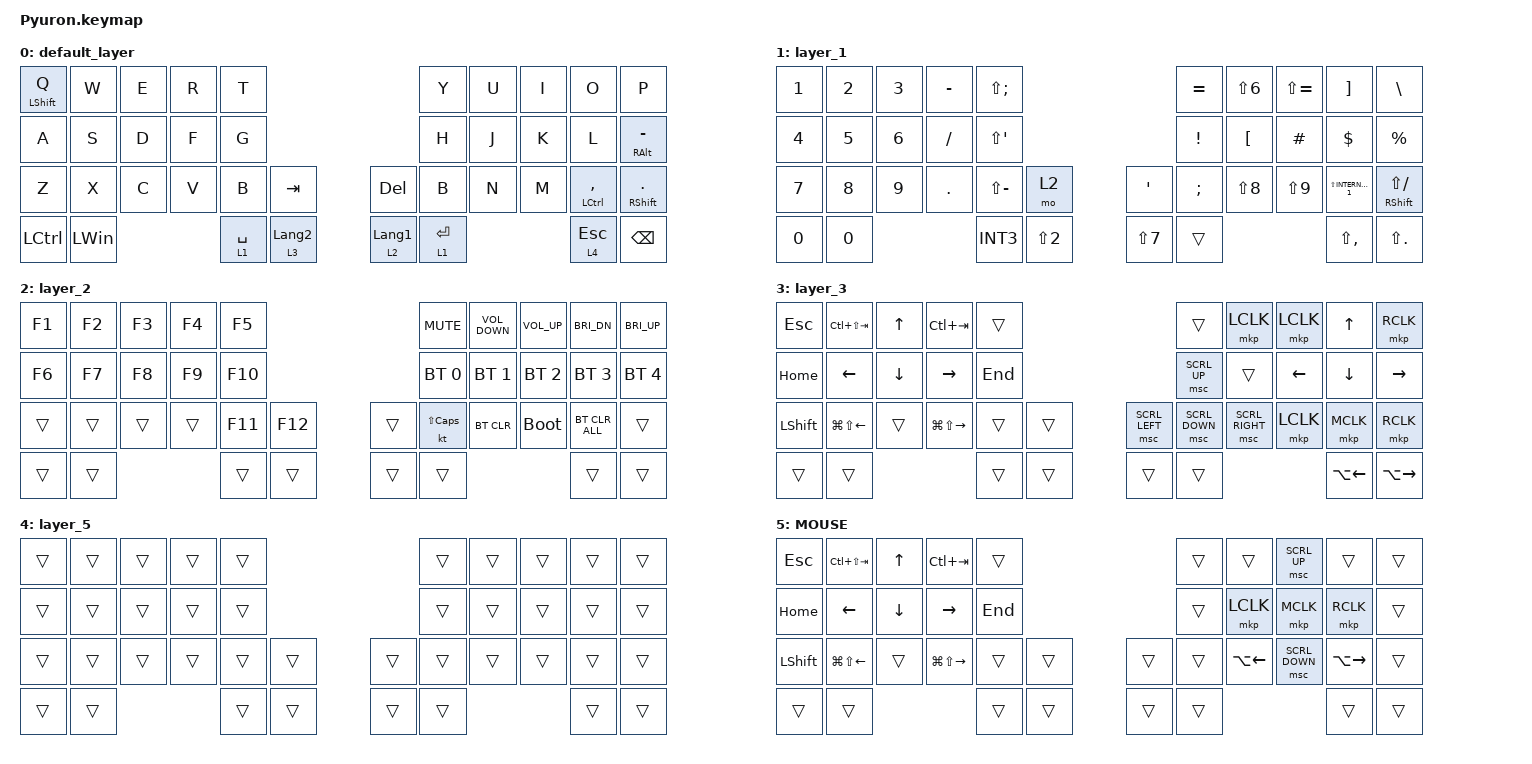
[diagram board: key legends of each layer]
#include <behaviors.dtsi>
#include <dt-bindings/zmk/bt.h>
#include <dt-bindings/zmk/keys.h>
#include <dt-bindings/zmk/pointing.h>

#define MOUSE 6

// ===== JISマクロ =====

#define JP_PLUS         LS(SEMICOLON)      // +
#define JP_CARET        EQUAL              // ^
#define JP_AMPERSAND    LS(N6)             // &
#define JP_TILDE        LS(EQUAL)          // ~
#define JP_ASTERISK     LS(QUOT)           // *
#define JP_AT           LEFT_BRACKET       // @
#define JP_EQUAL        LS(MINUS)          // =
#define JP_COLON        QUOT               // :
#define JP_LPAREN       LS(N8)             // (
#define JP_RPAREN       LS(N9)             // )
#define JP_LBRACKET     RIGHT_BRACKET      // [
#define JP_RBRACKET     BACKSLASH          // ]
#define JP_LBRACE       LS(RIGHT_BRACKET)  // {
#define JP_RBRACE       LS(BACKSLASH)      // }
#define JP_YEN          INT3               // ￥
#define JP_UNDERSCORE   LS(INT1)           // _

&mt {
    flavor = "balanced";
    quick-tap-ms = <0>;
};

/ {
    combos { compatible = "zmk,combos"; };

    macros {
        to_layer_0: to_layer_0 {
            compatible = "zmk,behavior-macro-one-param";
            #binding-cells = <1>;
            bindings = <&to 0 &macro_param_1to1 &kp MACRO_PLACEHOLDER>;
            label = "TO_LAYER_0";
        };
    };

    lt_to_layer_0: lt_to_layer_0 {
        compatible = "zmk,behavior-hold-tap";
        label = "LAYER_TAP_TO_0";
        bindings = <&mo>, <&to_layer_0>;

        #binding-cells = <2>;
        tapping-term-ms = <250>;
        flavor = "tap-preferred";
    };
};

/ {
    behaviors {
    };

    keymap {
        compatible = "zmk,keymap";

        default_layer {
            bindings = <
&mt LEFT_SHIFT Q        &kp W           &kp E             &kp R         &kp T        &kp Y             &kp U             &kp I        &kp O         &kp P
&kp A                   &kp S           &kp D             &kp F         &kp G        &kp H             &kp J             &kp K        &kp L         &mt RIGHT_ALT MINUS
&kp Z                   &kp X           &kp C             &kp V         &kp B        &kp TAB           &kp DEL           &kp B        &kp N         &kp M
&mt LEFT_CONTROL COMMA  &mt RSHIFT DOT  &kp LEFT_CONTROL  &kp LEFT_WIN  &lt 1 SPACE  &lt 3 LANGUAGE_2  &lt 2 LANGUAGE_1  &lt 1 ENTER  &lt 4 ESCAPE  &kp BACKSPACE
            >;
        };

        layer_1 {
            bindings = <
&kp N1                   &kp N2                     &kp N3  &kp MINUS   &kp JP_PLUS      &kp JP_CARET     &kp JP_AMPERSAND  &kp JP_TILDE   &kp JP_LBRACKET  &kp JP_RBRACKET
&kp N4                   &kp N5                     &kp N6  &kp SLASH   &kp JP_ASTERISK  &kp EXCLAMATION  &kp JP_AT         &kp HASH       &kp DOLLAR       &kp PERCENT
&kp N7                   &kp N8                     &kp N9  &kp PERIOD  &kp JP_EQUAL     &mo 2            &kp JP_COLON      &kp SEMICOLON  &kp JP_LPAREN    &kp JP_RPAREN
&kp LS(INTERNATIONAL_1)  &mt RIGHT_SHIFT LS(SLASH)  &kp N0  &kp N0      &kp INT3         &kp LS(N2)       &kp LS(N7)        &trans         &kp LS(COMMA)    &kp LS(PERIOD)
            >;
        };

        layer_2 {
            bindings = <
&kp F1          &kp F2  &kp F3  &kp F4  &kp F5   &kp C_MUTE    &kp C_VOLUME_DOWN  &kp C_VOLUME_UP  &kp C_BRI_DN  &kp C_BRI_UP
&kp F6          &kp F7  &kp F8  &kp F9  &kp F10  &bt BT_SEL 0  &bt BT_SEL 1       &bt BT_SEL 2     &bt BT_SEL 3  &bt BT_SEL 4
&trans          &trans  &trans  &trans  &kp F11  &kp F12       &trans             &kt LS(CLCK)     &bt BT_CLR    &bootloader
&bt BT_CLR_ALL  &trans  &trans  &trans  &trans   &trans        &trans             &trans           &trans        &trans
            >;
        };

        layer_3 {
            bindings = <
&kp ESCAPE      &kp LC(LS(TAB))         &kp UP_ARROW    &kp LC(TAB)              &trans   &trans        &mkp LCLK       &mkp LCLK       &kp UP_ARROW        &mkp RCLK
&kp HOME        &kp LEFT_ARROW          &kp DOWN_ARROW  &kp RIGHT_ARROW          &kp END  &msc SCRL_UP  &trans          &kp LEFT_ARROW  &kp DOWN_ARROW      &kp RIGHT_ARROW
&kp LEFT_SHIFT  &kp LG(LS(LEFT_ARROW))  &trans          &kp LG(LS(RIGHT_ARROW))  &trans   &trans        &msc SCRL_LEFT  &msc SCRL_DOWN  &msc SCRL_RIGHT     &mkp LCLK
&mkp MCLK       &mkp RCLK               &trans          &trans                   &trans   &trans        &trans          &trans          &kp LA(LEFT_ARROW)  &kp LA(RIGHT_ARROW)
            >;
        };

        layer_5 {
            bindings = <
&trans  &trans  &trans  &trans  &trans  &trans  &trans  &trans  &trans  &trans
&trans  &trans  &trans  &trans  &trans  &trans  &trans  &trans  &trans  &trans
&trans  &trans  &trans  &trans  &trans  &trans  &trans  &trans  &trans  &trans
&trans  &trans  &trans  &trans  &trans  &trans  &trans  &trans  &trans  &trans
            >;
        };

        MOUSE {
            bindings = <
&kp ESCAPE           &kp LC(LS(TAB))         &kp UP_ARROW    &kp LC(TAB)              &trans   &trans  &trans     &msc SCRL_UP  &trans              &trans
&kp HOME             &kp LEFT_ARROW          &kp DOWN_ARROW  &kp RIGHT_ARROW          &kp END  &trans  &mkp LCLK  &mkp MCLK     &mkp RCLK           &trans
&kp LEFT_SHIFT       &kp LG(LS(LEFT_ARROW))  &trans          &kp LG(LS(RIGHT_ARROW))  &trans   &trans  &trans     &trans        &kp LA(LEFT_ARROW)  &msc SCRL_DOWN
&kp LA(RIGHT_ARROW)  &trans                  &trans          &trans                   &trans   &trans  &trans     &trans        &trans              &trans
            >;
        };
    };
};
